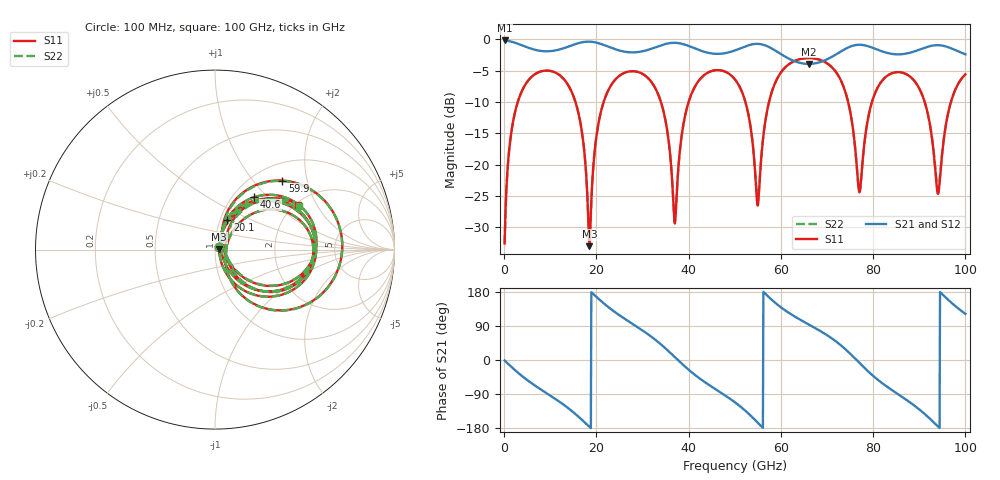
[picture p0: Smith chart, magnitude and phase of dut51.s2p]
! Touchstone file exported from HFSS 2026.1.0
!  File:  C:/ffzhzh/LocalFiles/Ansys_Project_Files/temp_train_TSV_RDL_51_1783445495_28540.aedt
!  Generated:  01:44:24 AM Jul  8, 2026
!  Design:  TSV_RDL
!  Project:  temp_train_TSV_RDL_51_1783445495_28540
! Variables:
!  h_bsmrdl = 3.82um
!  h_ox = 20um
!  h_rdl = 5um
!  h_sub = 55.98um
!  h_tmrdl = 2.35um
!  h_tsv = 55.98um
!  h_via = 3um
!  l_bsmrdl = 266.76um
!  l_sub = 3379.43um
!  l_tmrdl = 513.91um
!  m_sub = 200um
!  pitch = 49.43um
!  r_tsv = 7.49um
!  s_tmrdl = 10um
!  w_bsmrdl = 19.84um
!  w_sub = 500um
!  w_tmrdl = 21.33um
!  x_tsv_center1 = 524.575um
!  x_tsv_center2 = 811.175um
!  x_tsv_center3 = 1346.415um
!  x_tsv_center4 = 1633.015um
!  x_tsv_center5 = 2168.255um
!  x_tsv_center6 = 2454.855um
# GHz S MA R 50.000000
! Terminal data exported
! Port[1] = TM_RDL1_1_T1
! Port[2] = TM_RDL5_1_T1
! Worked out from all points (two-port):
!   1000 points, 100 MHz to 100 GHz, reference 50 ohm
!   highest |S21| = -0.17 dB at 100 MHz (marker M1); lowest = -3.9 dB at 66 GHz (marker M2)
!   |S21| within 3 dB of the highest: start of sweep to 62 GHz; 70.03 GHz to end of sweep
!   lowest |S11| = -33.0 dB at 18.5 GHz (marker M3), VSWR 1.05, Z = 52.3 + j0.147 ohm
!   |S11| at or under -10 dB: 15.46 GHz to 21.57 GHz (6.103 GHz wide, 33 % of centre); 33.99 GHz to 39.99 GHz (5.996 GHz wide, 16.2 % of centre); 91.18 GHz to 96.86 GHz (5.684 GHz wide, 6.05 % of centre) (the widest 3 of 6)
!   |S22| runs from -32.7 to -3.0 dB; largest |S21 - S12| = 1.7e-14
!   S11 on the Smith chart (normalised r, x): 100 MHz: 1.04, +0.03; 20.1 GHz: 1.08, +0.37; 40.6 GHz: 1.25, +0.84; 59.9 GHz: 1.32, +1.43; 100 GHz: 2.07, +1.42
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0.1  0.02353 32.0  0.9802 -1.2  0.9802 -1.2  0.02353 32.0
! Gamma 0 0 0 0
! Port Impedance 50 0 50 0
1.8  0.2071 62.4  0.9536 -20.7  0.9536 -20.7  0.2071 62.4
5.3  0.4743 31.6  0.8562 -55.6  0.8562 -55.6  0.4743 31.6
10.6  0.553 -9.8  0.8103 -98.7  0.8103 -98.7  0.553 -9.7
16.8  0.189 -62.2  0.9461 -157.1  0.9461 -157.1  0.1891 -62.0
18.5  0.02243 3.6  0.959 -176.5  0.959 -176.5  0.02319 3.4
20.1  0.1785 67.1  0.9401 165.4  0.9401 165.4  0.1786 66.9
27.3  0.5561 8.4  0.7881 99.5  0.7881 99.5  0.5561 8.4
33.4  0.3638 -39.8  0.8806 47.3  0.8806 47.3  0.3639 -39.6
37  0.03402 6.0  0.9391 7.7  0.9391 7.7  0.03503 6.1
40.6  0.3661 53.1  0.8692 -31.8  0.8692 -31.8  0.3662 53.0
50.1  0.4763 -20.1  0.8179 -112.2  0.8179 -112.2  0.4765 -19.9
55  0.04726 17.9  0.9207 -165.5  0.9207 -165.5  0.05091 17.5
59.9  0.5375 45.7  0.7672 140.0  0.7672 140.0  0.5378 45.3
66  0.7096 3.6  0.6372 94.0  0.6372 94.0  0.7098 3.4
66.7  0.7079 -0.7  0.6389 89.3  0.6389 89.3  0.7081 -1.0
73.5  0.4267 -49.8  0.8206 33.7  0.8206 33.7  0.4268 -50.0
77  0.06058 -10.5  0.9059 -7.3  0.9059 -7.3  0.0603 -10.7
83.4  0.5222 13.9  0.7742 -73.8  0.7742 -73.8  0.5223 13.8
90.3  0.3852 -37.9  0.8354 -133.4  0.8354 -133.4  0.3856 -37.6
94.1  0.05862 7.7  0.8986 -175.9  0.8986 -175.9  0.06273 7.2
100  0.5263 28.2  0.7597 121.7  0.7597 121.7  0.5266 27.6
